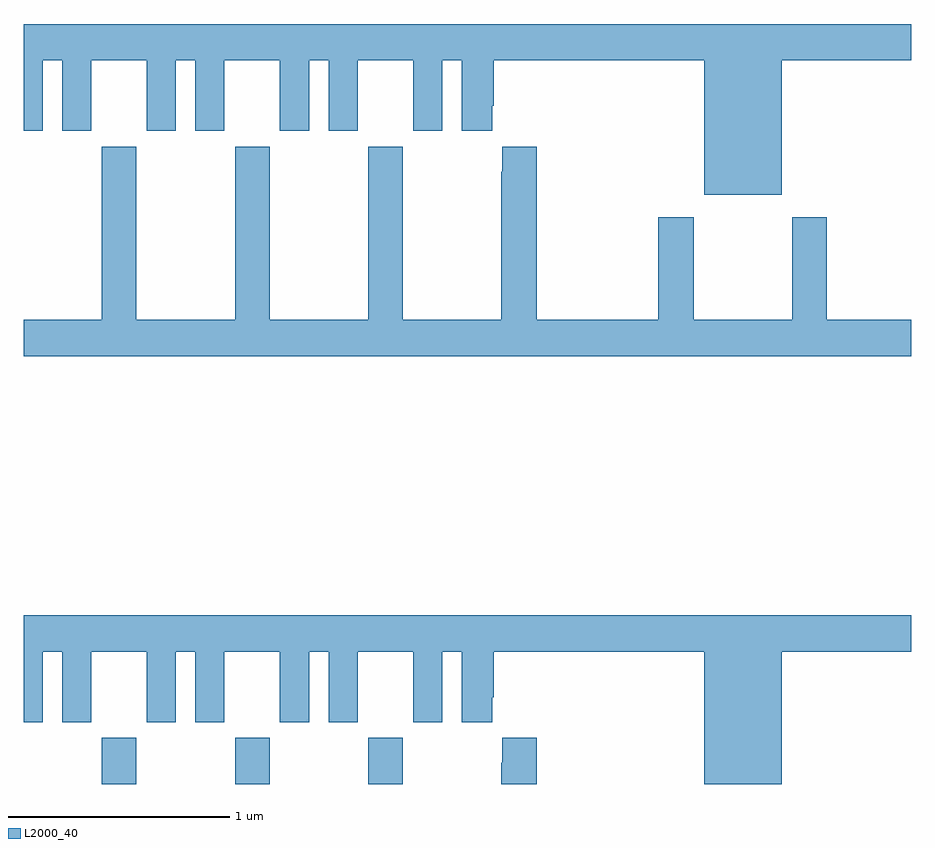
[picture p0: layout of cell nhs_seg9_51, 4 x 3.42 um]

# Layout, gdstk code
import gdstk
lib = gdstk.Library(unit=1e-6, precision=1e-09)
def R(c, l, rs):  # rectangles x0, y0, x1, y1
    for r in rs: c.add(gdstk.rectangle(r[:2], r[2:], *l))
def A(c, l, x, y, w, h, nx, ny, dx, dy):  # array of equal rectangles
    R(c, l, [(x+i*dx, y+j*dy, x+i*dx+w, y+j*dy+h) for i in range(nx) for j in range(ny)])
def P(c, l, *ps):  # polygons
    for p in ps: c.add(gdstk.Polygon(p, *l))
L2000_40 = (2000, 40)

nhs_seg9_51 = lib.new_cell('nhs_seg9_51')
A(nhs_seg9_51, L2000_40, 113.353, 1186.5, 0.155, 0.208, 3, 1, 0.6, 0)
P(nhs_seg9_51, L2000_40, [(116.416,1189.76),(117,1189.76),(117,1189.924),(113,1189.924),(113,1189.443),(113.086,1189.443),(113.086,1189.76),(113.174,1189.76),(113.174,1189.443),(113.305,1189.443),(113.305,1189.76),(113.555,1189.76),(113.555,1189.443),(113.686,1189.443),(113.686,1189.76),(113.774,1189.76),(113.774,1189.443),(113.905,1189.443),(113.905,1189.76),(114.155,1189.76),(114.155,1189.443),(114.286,1189.443),(114.286,1189.76),(114.374,1189.76),(114.374,1189.443),(114.505,1189.443),(114.505,1189.76),(114.755,1189.76),(114.755,1189.443),(114.886,1189.443),(114.886,1189.76),(114.974,1189.76),(114.974,1189.443),(115.111,1189.443),(115.111,1189.555),(115.118,1189.555),(115.118,1189.76),(116.066,1189.76),(116.066,1189.154),(116.416,1189.154)],
  [(117,1188.592),(116.619,1188.592),(116.619,1189.054),(116.464,1189.054),(116.464,1188.592),(116.019,1188.592),(116.019,1189.054),(115.859,1189.054),(115.859,1188.592),(115.313,1188.592),(115.313,1189.372),(115.157,1189.372),(115.157,1189.259),(115.153,1189.259),(115.153,1188.592),(114.708,1188.592),(114.708,1189.372),(114.553,1189.372),(114.553,1188.592),(114.108,1188.592),(114.108,1189.372),(113.953,1189.372),(113.953,1188.592),(113.508,1188.592),(113.508,1189.372),(113.353,1189.372),(113.353,1188.592),(113,1188.592),(113,1188.428),(117,1188.428)],
  [(116.416,1187.096),(117,1187.096),(117,1187.26),(113,1187.26),(113,1186.779),(113.086,1186.779),(113.086,1187.096),(113.174,1187.096),(113.174,1186.779),(113.305,1186.779),(113.305,1187.096),(113.555,1187.096),(113.555,1186.779),(113.686,1186.779),(113.686,1187.096),(113.774,1187.096),(113.774,1186.779),(113.905,1186.779),(113.905,1187.096),(114.155,1187.096),(114.155,1186.779),(114.286,1186.779),(114.286,1187.096),(114.374,1187.096),(114.374,1186.779),(114.505,1186.779),(114.505,1187.096),(114.755,1187.096),(114.755,1186.779),(114.886,1186.779),(114.886,1187.096),(114.974,1187.096),(114.974,1186.779),(115.111,1186.779),(115.111,1186.891),(115.118,1186.891),(115.118,1187.096),(116.066,1187.096),(116.066,1186.5),(116.416,1186.5)],
  [(115.313,1186.708),(115.157,1186.708),(115.157,1186.595),(115.153,1186.595),(115.153,1186.5),(115.313,1186.5)])

lib.write_gds('nhs_seg9_51.gds')
